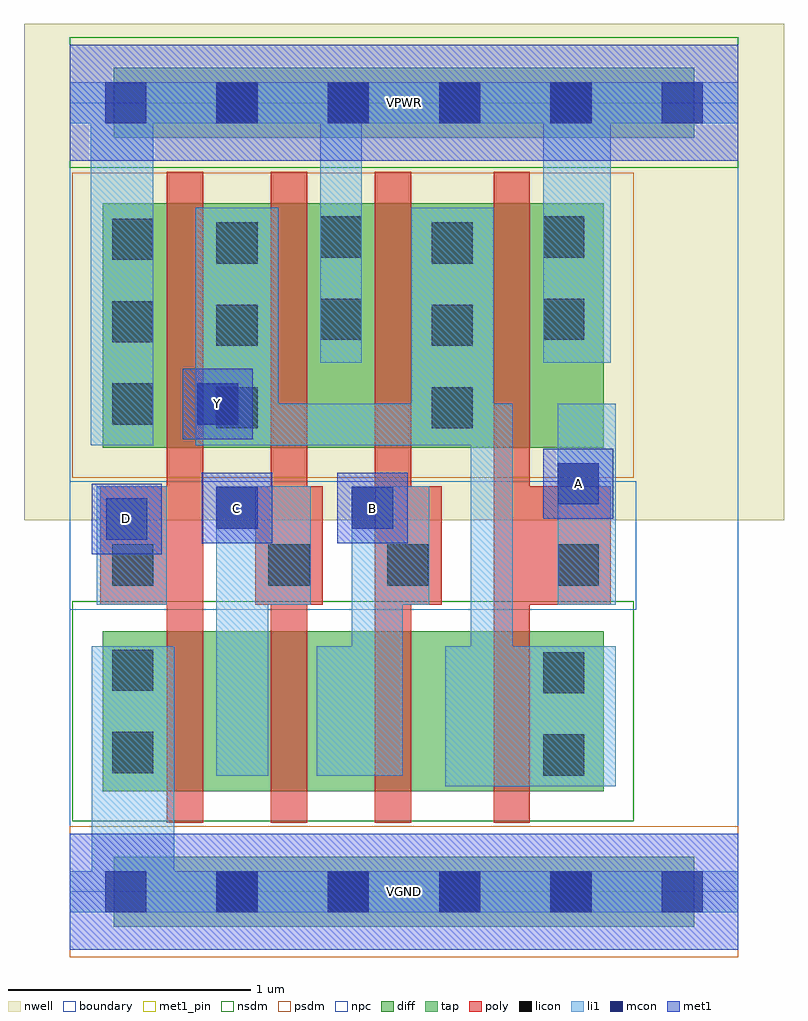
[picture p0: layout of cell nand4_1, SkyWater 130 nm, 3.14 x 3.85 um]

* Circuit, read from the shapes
.subckt nand4_1 A B C D VGND VPWR Y
XM1 n1 D VGND VGND sky130_fd_pr__nfet_01v8 w=0.66 l=0.15
XM2 n2 C n1 VGND sky130_fd_pr__nfet_01v8 w=0.66 l=0.15
XM3 n3 B n2 VGND sky130_fd_pr__nfet_01v8 w=0.66 l=0.15
XM4 Y A n3 VGND sky130_fd_pr__nfet_01v8 w=0.66 l=0.15
XM5 Y D VPWR VPWR sky130_fd_pr__pfet_01v8 w=1.01 l=0.15
XM6 VPWR C Y VPWR sky130_fd_pr__pfet_01v8 w=1.01 l=0.15
XM7 Y B VPWR VPWR sky130_fd_pr__pfet_01v8 w=1.01 l=0.15
XM8 VPWR A Y VPWR sky130_fd_pr__pfet_01v8 w=1.01 l=0.15
.ends

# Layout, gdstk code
import gdstk
lib = gdstk.Library(unit=1e-6, precision=1e-09)
def R(c, l, rs):  # rectangles x0, y0, x1, y1
    for r in rs: c.add(gdstk.rectangle(r[:2], r[2:], *l))
def A(c, l, x, y, w, h, nx, ny, dx, dy):  # array of equal rectangles
    R(c, l, [(x+i*dx, y+j*dy, x+i*dx+w, y+j*dy+h) for i in range(nx) for j in range(ny)])
nwell = (64, 20)
diff = (65, 20)
tap = (65, 44)
poly = (66, 20)
licon = (66, 44)
li1 = (67, 20)
mcon = (67, 44)
met1_pin = (68, 16)
met1 = (68, 20)
nsdm = (93, 44)
psdm = (94, 20)
npc = (95, 20)
boundary = (235, 4)

nand4_1 = lib.new_cell('nand4_1')
R(nand4_1, nwell, [(-0.19,1.535,2.95,3.585), (0,1.535,2.76,3.585)])
R(nand4_1, diff, [(0.135,0.415,2.205,1.075), (0.135,1.835,2.205,2.845)])
R(nand4_1, tap, [(0.18,-0.145,2.58,0.145), (0.18,3.115,2.58,3.405)])
A(nand4_1, poly, 0.4, 0.285, 0.15, 2.69, 3, 1, 0.43, 0)
R(nand4_1, poly, [(1.75,0.285,1.9,2.975), (0.125,1.185,0.55,1.675), (0.765,1.185,1.045,1.675), (1.26,1.185,1.535,1.675), (1.75,1.185,2.235,1.675)])
A(nand4_1, licon, 0.605, -0.085, 0.17, 0.17, 4, 2, 0.46, 3.26)
A(nand4_1, licon, 0.605, 1.915, 0.17, 0.17, 1, 3, 0, 0.34)
A(nand4_1, licon, 1.495, 1.915, 0.17, 0.17, 1, 3, 0, 0.34)
A(nand4_1, licon, 0.175, 1.93, 0.17, 0.17, 1, 3, 0, 0.34)
R(nand4_1, licon, [(1.955,0.48,2.125,0.65), (0.175,0.49,0.345,0.66), (1.955,0.82,2.125,0.99), (0.175,0.83,0.345,1), (0.175,1.265,0.345,1.435), (0.82,1.265,0.99,1.435), (1.31,1.265,1.48,1.435), (2.015,1.265,2.185,1.435), (1.035,2.28,1.205,2.45), (1.955,2.28,2.125,2.45), (1.035,2.62,1.205,2.79), (1.955,2.62,2.125,2.79)])
R(nand4_1, li1, [(0,-0.085,2.76,0.085), (0.09,-0.085,0.43,1.015), (1.55,0.435,2.255,1.015), (1.655,0.435,1.83,2.015), (0.605,0.48,0.82,1.675), (1.02,0.48,1.375,1.015), (1.165,0.48,1.375,1.675), (0.11,1.185,0.4,1.675), (0.605,1.185,0.995,1.675), (1.165,1.185,1.485,1.675), (2.015,1.185,2.255,2.015), (0.085,1.845,0.345,3.345), (0.52,1.845,0.86,2.825), (0.52,1.845,1.83,2.015), (1.41,1.845,1.75,2.825), (1.035,2.185,1.205,3.345), (1.955,2.185,2.235,3.345), (0,3.175,2.76,3.345)])
A(nand4_1, mcon, 0.145, -0.085, 0.17, 0.17, 6, 2, 0.46, 3.26)
R(nand4_1, mcon, [(0.15,1.455,0.32,1.625), (0.605,1.5,0.775,1.67), (1.165,1.5,1.335,1.67), (2.015,1.6,2.185,1.77), (0.525,1.93,0.695,2.1)])
R(nand4_1, met1_pin, [(0,-0.24,2.76,0.24), (0.09,1.395,0.38,1.685), (0.545,1.44,0.835,1.73), (1.105,1.44,1.395,1.73), (1.955,1.54,2.245,1.83), (0.465,1.87,0.755,2.16), (0,3.02,2.76,3.5)])
R(nand4_1, met1, [(0,-0.24,2.76,0.24), (0.09,1.395,0.38,1.685), (0.545,1.44,0.835,1.73), (1.105,1.44,1.395,1.73), (1.955,1.54,2.245,1.83), (0.465,1.87,0.755,2.16), (0,3.02,2.76,3.5)])
R(nand4_1, nsdm, [(0.01,0.29,2.33,1.2), (0,2.99,2.76,3.53)])
R(nand4_1, psdm, [(0,-0.27,2.76,0.27), (0.01,1.71,2.33,2.97)])
R(nand4_1, npc, [(0,1.165,2.34,1.695)])
R(nand4_1, boundary, [(0,0,2.76,3.26)])
nand4_1.add(gdstk.Label('A', (2.1,1.685), layer=68, texttype=5))
nand4_1.add(gdstk.Label('B', (1.25,1.585), layer=68, texttype=5))
nand4_1.add(gdstk.Label('C', (0.69,1.585), layer=68, texttype=5))
nand4_1.add(gdstk.Label('D', (0.235,1.54), layer=68, texttype=5))
nand4_1.add(gdstk.Label('Y', (0.61,2.015), layer=68, texttype=5))
nand4_1.add(gdstk.Label('VPWR', (1.38,3.26), layer=68, texttype=5))
nand4_1.add(gdstk.Label('VGND', (1.38,0), layer=68, texttype=5))
nand4_1.add(gdstk.Label('A', (2.1,1.685), layer=68, texttype=16))
nand4_1.add(gdstk.Label('B', (1.25,1.585), layer=68, texttype=16))
nand4_1.add(gdstk.Label('C', (0.69,1.585), layer=68, texttype=16))
nand4_1.add(gdstk.Label('D', (0.235,1.54), layer=68, texttype=16))
nand4_1.add(gdstk.Label('Y', (0.61,2.015), layer=68, texttype=16))
nand4_1.add(gdstk.Label('VPWR', (1.38,3.26), layer=68, texttype=16))
nand4_1.add(gdstk.Label('VGND', (1.38,0), layer=68, texttype=16))

lib.write_gds('nand4_1.gds')
